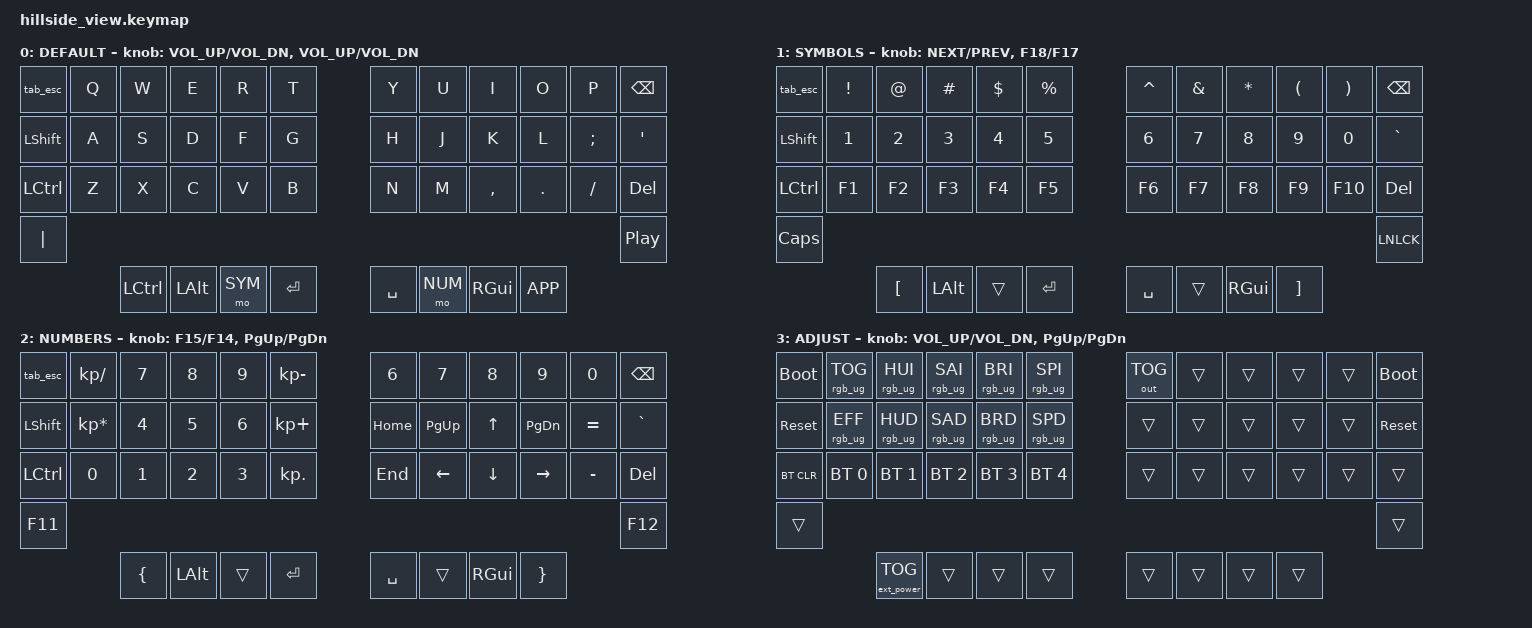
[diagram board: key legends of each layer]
#include <behaviors.dtsi>
#include <dt-bindings/zmk/keys.h>
#include <dt-bindings/zmk/bt.h>
#include <dt-bindings/zmk/rgb.h>
#include <dt-bindings/zmk/ext_power.h>
#include <dt-bindings/zmk/outputs.h>

// Left bottom row pinky 2nd column
#ifndef LB5
#define LB5 24
#endif

// Right bottom row pinky 2nd column
#ifndef RB5
#define RB5 35
#endif

#define DEF 0
#define SYM 1
#define NUM 2
#define ADJ 3


#define QUICK_TAP_MS 175


&sk {
  release-after-ms = <600>;
  quick-release;
};

/ {
  conditional_layers {
    compatible = "zmk,conditional-layers";
    tri_layer {
      if-layers = <SYM NUM>;
      then-layer = <ADJ>;
    };
  };

  combos {
    compatible = "zmk,combos";
    caps {
      timeout-ms = <50>;
      key-positions = <LB5 RB5>;
      bindings = <&caps_word>;
    };
  };

  behaviors {
        tab_esc: tab_esc_td {
        compatible = "zmk,behavior-tap-dance";
        label = "TAB_ESC_TAP_DANCE";
        #binding-cells = <0>;
        tapping-term-ms = <200>;
        bindings = <&kp TAB>, <&kp ESC>;
    };
  lt_qk: layer_toggle_quick {
      compatible = "zmk,behavior-hold-tap";
      label = "LAYER_TOGGLE_QUICK";
      #binding-cells = <2>;
      flavor = "tap-preferred";
      tapping-term-ms = <150>;
      quick-tap-ms = <QUICK_TAP_MS>;
      bindings = <&mo>, <&kp>;
    };
    mt_sk: mod_tap_sticky {
      compatible = "zmk,behavior-hold-tap";
      label = "MOD_TAP_STICKY";
      #binding-cells = <2>;
      flavor = "tap-preferred";
      tapping-term-ms = <150>;
      quick-tap-ms = <200>;
      bindings = <&sk>, <&kp>;
    };
    ht: hold_tap {
      compatible = "zmk,behavior-hold-tap";
      label = "HOLD_TAP";
      #binding-cells = <2>;
      tapping_term_ms = <200>;
      quick_tap_ms = <200>;
      flavor = "tap-preferred";
      bindings = <&kp>, <&kp>;
    };
  };

  keymap {
    compatible = "zmk,keymap";
    default_layer {
      label = "DEFAULT";
      bindings = <
      // ╭─────────────┬─────────────┬─────────────┬─────────────┬─────────────┬─────────────╮                                      ╭─────────────┬─────────────┬─────────────┬─────────────┬─────────────┬────────────╮
             &tab_esc       &kp Q         &kp W         &kp E         &kp R        &kp T                                                   &kp Y         &kp U         &kp I         &kp O        &kp P       &kp BSPC    
      // ├─────────────┼─────────────┼─────────────┼─────────────┼─────────────┼─────────────┤                                      ├─────────────┼─────────────┼─────────────┼─────────────┼─────────────┼────────────┤
           &kp LSHIFT       &kp A          &kp S         &kp D         &kp F        &kp G                                                 &kp H         &kp J         &kp K         &kp L        &kp SEMI    &kp SQT    
      // ├─────────────┼─────────────┼─────────────┼─────────────┼─────────────┼─────────────┤  ╭─────────────╮     ╭─────────────╮ ├─────────────┼─────────────┼─────────────┼─────────────┼─────────────┼────────────┤
           &kp LCTRL      &kp Z            &kp X         &kp C         &kp V        &kp B                                                 &kp N         &kp M       &kp COMMA      &kp DOT      &kp FSLH    &kp DEL  
                                                                                                  &kp PIPE           &kp C_PP                                                                                         
      // ╰─────────────┴─────────────┼─────────────┼─────────────┼─────────────┼─────────────┤  ╰─────────────╯     ╰─────────────╯ ├─────────────┼─────────────┼─────────────┼─────────────┼─────────────┴────────────╯
                                        &kp LCTRL      &kp LALT      &mo SYM      &kp ENTER                                               &kp SPACE    &mo NUM      &kp RGUI      &kp K_APP
      //                             ╰─────────────┴─────────────┴─────────────┴─────────────╯                                      ╰─────────────┴─────────────┴─────────────┴─────────────╯
      >;
      sensor-bindings = <&inc_dec_kp C_VOL_UP C_VOL_DN &inc_dec_kp C_VOL_UP C_VOL_DN>;
    };
    sym_layer {
      label = "SYMBOLS";
      bindings = <
      // ╭─────────────┬─────────────┬─────────────┬─────────────┬─────────────┬─────────────╮                                      ╭─────────────┬─────────────┬─────────────┬─────────────┬─────────────┬────────────╮
             &tab_esc       &kp EXCL      &kp AT        &kp HASH      &kp DLLR     &kp PRCNT                                             &kp CARET     &kp AMPS      &kp STAR      &kp LPAR      &kp RPAR    &kp BSPC  
      // ├─────────────┼─────────────┼─────────────┼─────────────┼─────────────┼─────────────┤                                      ├─────────────┼─────────────┼─────────────┼─────────────┼─────────────┼────────────┤
            &kp LSHIFT    &kp N1          &kp N2         &kp N3       &kp N4        &kp N5                                                 &kp N6      &kp N7         &kp N8         &kp N9      &kp N0    &kp GRAVE  
      // ├─────────────┼─────────────┼─────────────┼─────────────┼─────────────┼─────────────┤  ╭─────────────╮     ╭─────────────╮ ├─────────────┼─────────────┼─────────────┼─────────────┼─────────────┼────────────┤
             &kp LCTRL     &kp F1         &kp F2         &kp F3       &kp F4       &kp F5                                               &kp F6           &kp F7      &kp F8       &kp F9         &kp F10     &kp DEL
                                                                                                    &kp CAPS          &kp LNLCK                                                                                        
      // ╰─────────────┴─────────────┼─────────────┼─────────────┼─────────────┼─────────────┤  ╰─────────────╯     ╰─────────────╯ ├─────────────┼─────────────┼─────────────┼─────────────┼─────────────┴────────────╯
                                          &kp LBKT     &kp LALT         &trans    &kp ENTER                                               &kp SPACE    &trans        &kp RGUI     &kp RBKT       
      //                             ╰─────────────┴─────────────┴─────────────┴─────────────╯                                      ╰─────────────┴─────────────┴─────────────┴─────────────╯
      >;
      sensor-bindings = <&inc_dec_kp C_NEXT C_PREV &inc_dec_kp F18 F17>;
    };
    num_layer {
      label = "NUMBERS";
      bindings = <
      // ╭─────────────┬─────────────┬─────────────┬─────────────┬─────────────┬─────────────╮                                      ╭─────────────┬─────────────┬─────────────┬─────────────┬─────────────┬────────────╮
           &tab_esc     &kp KP_SLASH      &kp N7      &kp N8         &kp N9     &kp KP_MINUS                                           &kp N6       &kp N7          &kp N8       &kp N9        &kp N0       &kp BSPC
      // ├─────────────┼─────────────┼─────────────┼─────────────┼─────────────┼─────────────┤                                      ├─────────────┼─────────────┼─────────────┼─────────────┼─────────────┼────────────┤
          &kp LSHIFT   &kp KP_MULTIPLY   &kp N4         &kp N5      &kp N6      &kp KP_PLUS                                              &kp HOME       &kp PG_UP    &kp UP       &kp PG_DN   &kp EQUAL      &kp GRAVE 
      // ├─────────────┼─────────────┼─────────────┼─────────────┼─────────────┼─────────────┤  ╭─────────────╮     ╭─────────────╮ ├─────────────┼─────────────┼─────────────┼─────────────┼─────────────┼────────────┤
           &kp LCTRL       &kp N0        &kp N1       &kp N2          &kp N3     &kp KP_DOT                                            &kp END      &kp LEFT     &kp DOWN        &kp RIGHT    &kp MINUS     &kp DEL  
                                                                                                    &kp F11               &kp F12                                                                                          
      // ╰─────────────┴─────────────┼─────────────┼─────────────┼─────────────┼─────────────┤  ╰─────────────╯     ╰─────────────╯ ├─────────────┼─────────────┼─────────────┼─────────────┼─────────────┴────────────╯
                                         &kp LBRC       &kp LALT         &trans    &kp ENTER                                              &kp SPACE        &trans        &kp RGUI    &kp RBRC
      //                             ╰─────────────┴─────────────┴─────────────┴─────────────╯                                      ╰─────────────┴─────────────┴─────────────┴─────────────╯
      >;
      sensor-bindings = <&inc_dec_kp F15 F14 &inc_dec_kp PG_UP PG_DN>;
    };
    adj_layer {
      label = "ADJUST";
      bindings = <
      // ╭─────────────┬─────────────┬─────────────┬─────────────┬─────────────┬─────────────╮                                      ╭─────────────┬─────────────┬─────────────┬─────────────┬─────────────┬────────────╮
           &bootloader &rgb_ug RGB_TOG &rgb_ug RGB_HUI &rgb_ug RGB_SAI &rgb_ug RGB_BRI &rgb_ug RGB_SPI                               &out OUT_TOG      &trans          &trans          &trans         &trans        &bootloader
      // ├─────────────┼─────────────┼─────────────┼─────────────┼─────────────┼─────────────┤                                      ├─────────────┼─────────────┼─────────────┼─────────────┼─────────────┼────────────┤
           &sys_reset  &rgb_ug RGB_EFF &rgb_ug RGB_HUD &rgb_ug RGB_SAD &rgb_ug RGB_BRD &rgb_ug RGB_SPD                                    &trans         &trans          &trans          &trans         &trans         &sys_reset
      // ├─────────────┼─────────────┼─────────────┼─────────────┼─────────────┼─────────────┤  ╭─────────────╮     ╭─────────────╮ ├─────────────┼─────────────┼─────────────┼─────────────┼─────────────┼────────────┤
           &bt BT_CLR  &bt BT_SEL 0    &bt BT_SEL 1 &bt BT_SEL 2  &bt BT_SEL 3  &bt BT_SEL 4                                              &trans         &trans          &trans          &trans         &trans         &trans
                                                                                                    &trans               &trans                                                                                    
      // ╰─────────────┴─────────────┼─────────────┼─────────────┼─────────────┼─────────────┤  ╰─────────────╯     ╰─────────────╯ ├─────────────┼─────────────┼─────────────┼─────────────┼─────────────┴────────────╯
                                   &ext_power EP_TOG    &trans          &trans          &trans                                                  &trans         &trans          &trans          &trans           
      //                             ╰─────────────┴─────────────┴─────────────┴─────────────╯                                      ╰─────────────┴─────────────┴─────────────┴─────────────╯
      >;
      sensor-bindings = <&inc_dec_kp C_VOL_UP C_VOL_DN &inc_dec_kp PG_UP PG_DN>;
    };
  };
};

